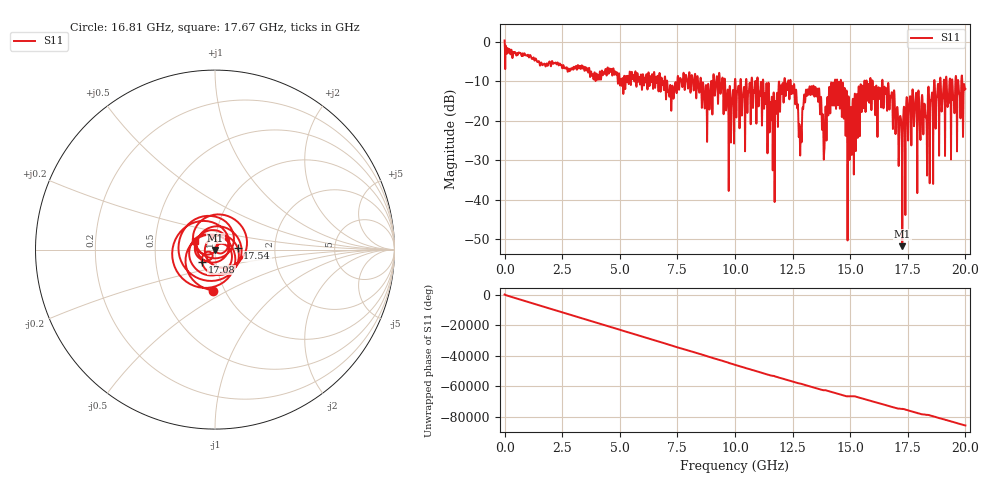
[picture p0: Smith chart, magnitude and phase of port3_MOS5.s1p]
! MS46122B
! 2250307/22442219
! 7/26/2025 10:24:14 AM
! C:\USERS\SPARKY\DOCUMENTS\VNA_DATA\JULY26_2025\295K\PORT3_MOS5.S1P
! CHANNEL.1
! TR.MEASUREMENT
! RAW.DATA
# GHZ S RI R 50.0
! FREQ.GHZ  S11RE  S11IM
!; PortSelection: Port_1
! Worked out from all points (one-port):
!   10001 points, 1 MHz to 20 GHz, reference 50 ohm
!   lowest |S11| = -51.8 dB at 17.26 GHz (marker M1), VSWR 1.01, Z = 50.2 - j0.143 ohm
!   |S11| at or under -10 dB: 12.42 GHz to 14.33 GHz (1.917 GHz wide, 14.3 % of centre); 14.6 GHz to 15.62 GHz (1.011 GHz wide, 6.69 % of centre); 16.41 GHz to 18.64 GHz (2.236 GHz wide, 12.8 % of centre) (the widest 3 of 69)
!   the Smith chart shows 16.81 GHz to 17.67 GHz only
!   S11 on the Smith chart (normalised r, x): 16.81 GHz: 0.89, -0.43; 17.08 GHz: 0.86, -0.12; 17.54 GHz: 1.29, +0.02; 17.67 GHz: 0.79, +0.08
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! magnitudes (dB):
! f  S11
! 1 MHz  0.4
! 2.501 GHz  -6.6
! 5.001 GHz  -10.7
! 7.501 GHz  -9.7
! 10 GHz  -9.5
! 11.05 GHz  -12.9
! 11.64 GHz  -24.8
! 11.98 GHz  -11.4
! 12.5 GHz  -11.6
! 12.83 GHz  -28.8
! 13.02 GHz  -14.1
! 13.32 GHz  -11.2
! 13.65 GHz  -11.8
! 13.88 GHz  -27.5
! 14.26 GHz  -10.3
! 14.68 GHz  -10.3
! 15 GHz  -18.6
! 15.79 GHz  -10.6
! 16.81 GHz  -12.8
! 17.08 GHz  -20.1
! 17.18 GHz  -18.9
! 17.26 GHz  -51.8
! 17.5 GHz  -21.1
! 17.54 GHz  -18.0
! 17.67 GHz  -18.3
! 18.26 GHz  -17.8
! 18.73 GHz  -16.4
! 20 GHz  -11.9
